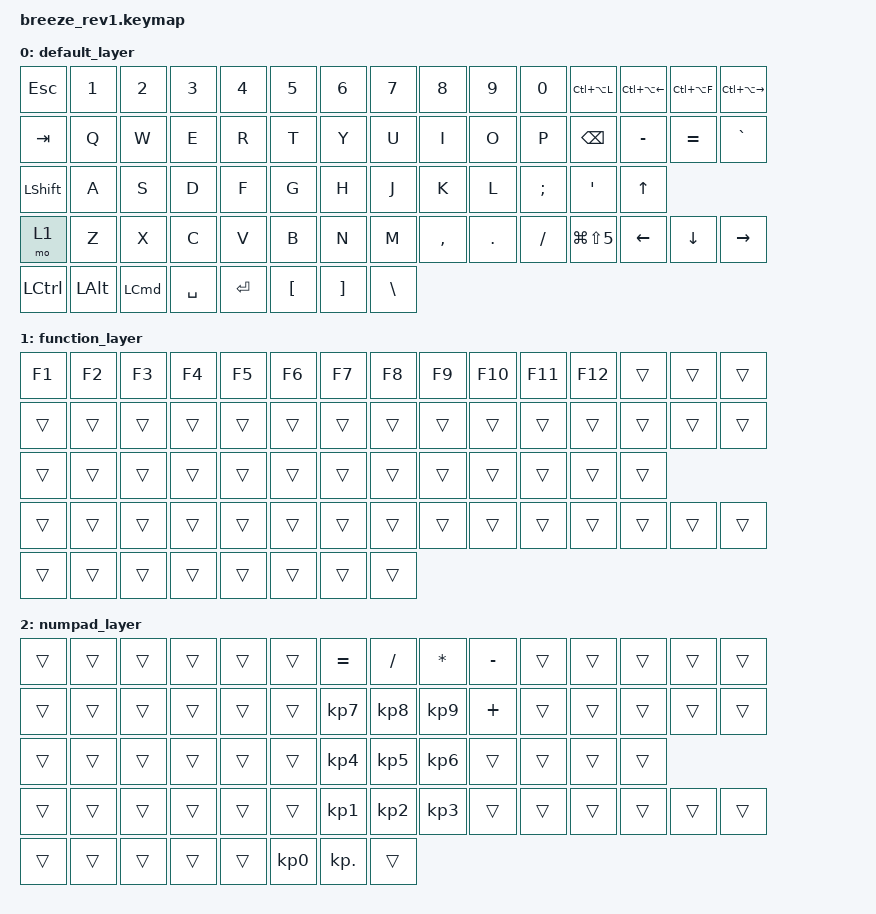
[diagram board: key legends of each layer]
/*
 * Copyright (c) 2022 The ZMK Contributors
 *
 * SPDX-License-Identifier: MIT
 */

#include <behaviors.dtsi>
#include <dt-bindings/zmk/keys.h>

/ {
    keymap {
        compatible = "zmk,keymap";

        default_layer {
            // Ref: https://zmkfirmware.dev/docs/codes/
            // ---  MAIN  -----------------------------------------------------------------------------------------------------------------------
            // |    ESC    |     1     |     2     |     3      |      4      |      5     |                           |      6      |      7     |      8      |      9     |     0    |    BSPC    | |    -/_    |     =/+     |    GRAVE    |
            // |    TAB    |     Q     |     W     |     E      |      R      |      T     |                           |      Y      |      U     |      I      |      O     |     P    |    DEL     | |     \     |      [      |      ]      |
            // |   LCTRL   |     A     |     S     |     D      |      F      |      G     |                           |      H      |      J     |      K      |      L     |     ;    |     '      | |           |      UP     |             |
            // |   SHIFT   |     Z     |     X     |     C      |      V      |      B     |                           |      N      |      M     |      ,      |      .     |     /    |   RSHIFT   | |     L     |      DN     |      R      |
            //                                     |   NUMPAD   |     LALT    |    LCMD    |   SPACE    |  |   ENTER   |   FUNCTION  |  MACOS APP |  MACOS LANG |

            bindings = <
&kp ESC    &kp N1    &kp N2    &kp N3     &kp N4   &kp N5            &kp N6             &kp N7         &kp N8     &kp N9   &kp N0    &kp LC(LA(L))   &kp LC(LA(LEFT))  &kp LC(LA(F))  &kp LC(LA(RIGHT))
&kp TAB    &kp Q     &kp W     &kp E      &kp R    &kp T             &kp Y              &kp U          &kp I      &kp O    &kp P     &kp BACKSPACE   &kp MINUS         &kp EQUAL      &kp GRAVE
&kp LSHFT  &kp A     &kp S     &kp D      &kp F    &kp G             &kp H              &kp J          &kp K      &kp L    &kp SEMI  &kp APOS        &kp UP
&mo 1      &kp Z     &kp X     &kp C      &kp V    &kp B             &kp N              &kp M          &kp COMMA  &kp DOT  &kp FSLH  &kp LG(LS(N5))  &kp LEFT          &kp DOWN       &kp RIGHT
&kp LCTRL  &kp LALT  &kp LCMD  &kp SPACE  &kp RET  &kp LEFT_BRACKET  &kp RIGHT_BRACKET  &kp BACKSLASH
            >;
        };

        function_layer {
            // ---  FUNCTION  -------------------------------------------------------------------------------------------------------------------
            // | BT Clear  |  BT Prev  |  BT Next  |            |             |            |                           |             |            |             |            |          |            | |           |             |             |
            // |           |           |           |            |             |            |                           |             |            |     UP      |            |          |            | |           |             |             |
            // |           |           |           |            |             |            |                           |             |    LEFT    |    DOWN     |   RIGHT    |          |            | |           |             |             |
            // |           |           |           |            |             |            |                           |             |    MUTE    |  VOL DOWN   |   VOL UP   |          |            | |           |             |             |
            //                                     |            |             |            |            |  |           |             |            |             |

            bindings = <
&kp F1  &kp F2  &kp F3  &kp F4  &kp F5  &kp F6  &kp F7  &kp F8  &kp F9  &kp F10  &kp F11  &kp F12  &trans  &trans  &trans
&trans  &trans  &trans  &trans  &trans  &trans  &trans  &trans  &trans  &trans   &trans   &trans   &trans  &trans  &trans
&trans  &trans  &trans  &trans  &trans  &trans  &trans  &trans  &trans  &trans   &trans   &trans   &trans
&trans  &trans  &trans  &trans  &trans  &trans  &trans  &trans  &trans  &trans   &trans   &trans   &trans  &trans  &trans
&trans  &trans  &trans  &trans  &trans  &trans  &trans  &trans
            >;
        };

        numpad_layer {
            // ---  NUMPAD  -------------------------------------------------------------------------------------------------------------------
            // |           |           |           |            |             |            |                           |       =       |      /       |      *       |      -     |          |            | |           |             |             |
            // |           |           |           |            |             |            |                           |       7       |      8       |      9       |      +     |          |            | |           |             |             |
            // |           |           |           |            |             |            |                           |       4       |      5       |      6       |            |          |            | |           |             |             |
            // |           |           |           |            |             |            |                           |       1       |      2       |      3       |            |          |            | |           |             |             |
            //                                     |            |             |            |            |  |           |       0       |      .       |              |

            bindings = <
&trans  &trans  &trans  &trans  &trans  &trans           &kp EQUAL        &kp SLASH        &kp STAR         &kp MINUS  &trans  &trans  &trans  &trans  &trans
&trans  &trans  &trans  &trans  &trans  &trans           &kp KP_NUMBER_7  &kp KP_NUMBER_8  &kp KP_NUMBER_9  &kp PLUS   &trans  &trans  &trans  &trans  &trans
&trans  &trans  &trans  &trans  &trans  &trans           &kp KP_NUMBER_4  &kp KP_NUMBER_5  &kp KP_NUMBER_6  &trans     &trans  &trans  &trans
&trans  &trans  &trans  &trans  &trans  &trans           &kp KP_NUMBER_1  &kp KP_NUMBER_2  &kp KP_NUMBER_3  &trans     &trans  &trans  &trans  &trans  &trans
&trans  &trans  &trans  &trans  &trans  &kp KP_NUMBER_0  &kp KP_DOT       &trans
            >;
        };
    };
};
